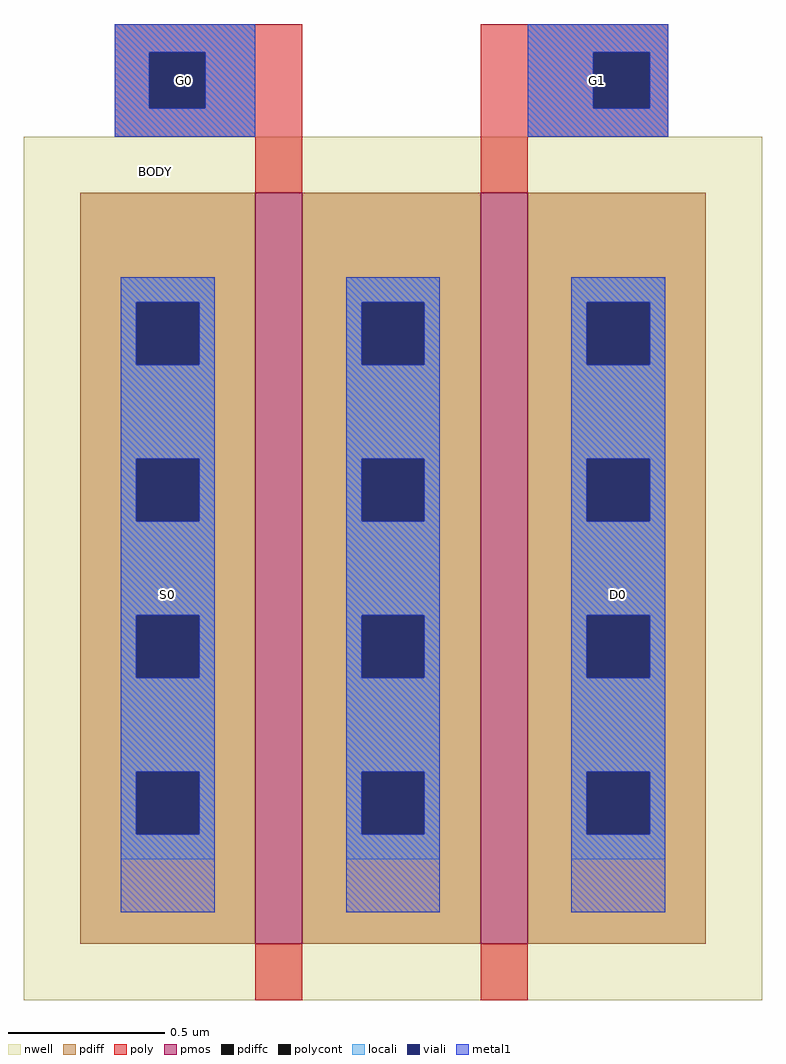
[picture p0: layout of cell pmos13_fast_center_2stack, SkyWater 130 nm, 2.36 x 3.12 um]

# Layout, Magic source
magic
tech sky130A
<< nwell >>
rect -46 66 190 342
<< pmos >>
rect 28 84 43 324
rect 100 84 115 324
<< pdiff >>
rect -28 289 28 324
rect -28 269 -10 289
rect 10 269 28 289
rect -28 239 28 269
rect -28 219 -10 239
rect 10 219 28 239
rect -28 189 28 219
rect -28 169 -10 189
rect 10 169 28 189
rect -28 139 28 169
rect -28 119 -10 139
rect 10 119 28 139
rect -28 84 28 119
rect 43 289 100 324
rect 43 269 62 289
rect 82 269 100 289
rect 43 239 100 269
rect 43 219 62 239
rect 82 219 100 239
rect 43 189 100 219
rect 43 169 62 189
rect 82 169 100 189
rect 43 139 100 169
rect 43 119 62 139
rect 82 119 100 139
rect 43 84 100 119
rect 115 289 172 324
rect 115 269 134 289
rect 154 269 172 289
rect 115 239 172 269
rect 115 219 134 239
rect 154 219 172 239
rect 115 189 172 219
rect 115 169 134 189
rect 154 169 172 189
rect 115 139 172 169
rect 115 119 134 139
rect 154 119 172 139
rect 115 84 172 119
<< pdiffc >>
rect -10 269 10 289
rect -10 219 10 239
rect -10 169 10 189
rect -10 119 10 139
rect 62 269 82 289
rect 62 219 82 239
rect 62 169 82 189
rect 62 119 82 139
rect 134 269 154 289
rect 134 219 154 239
rect 134 169 154 189
rect 134 119 154 139
<< poly >>
rect -17 369 43 378
rect -17 351 -6 369
rect 12 351 43 369
rect -17 342 43 351
rect 28 324 43 342
rect 100 369 160 378
rect 100 351 136 369
rect 154 351 160 369
rect 100 342 160 351
rect 100 324 115 342
rect 28 66 43 84
rect 100 66 115 84
<< polycont >>
rect -6 351 12 369
rect 136 351 154 369
<< locali >>
rect -17 369 28 378
rect -17 351 -6 369
rect 12 351 28 369
rect -17 342 28 351
rect 115 369 160 378
rect 115 351 136 369
rect 154 351 160 369
rect 115 342 160 351
rect -15 289 15 297
rect -15 269 -10 289
rect 10 269 15 289
rect -15 239 15 269
rect -15 219 -10 239
rect 10 219 15 239
rect -15 189 15 219
rect -15 169 -10 189
rect 10 169 15 189
rect -15 139 15 169
rect -15 119 -10 139
rect 10 119 15 139
rect -15 111 15 119
rect 57 289 87 297
rect 57 269 62 289
rect 82 269 87 289
rect 57 239 87 269
rect 57 219 62 239
rect 82 219 87 239
rect 57 189 87 219
rect 57 169 62 189
rect 82 169 87 189
rect 57 139 87 169
rect 57 119 62 139
rect 82 119 87 139
rect 57 111 87 119
rect 129 289 159 297
rect 129 269 134 289
rect 154 269 159 289
rect 129 239 159 269
rect 129 219 134 239
rect 154 219 159 239
rect 129 189 159 219
rect 129 169 134 189
rect 154 169 159 189
rect 129 139 159 169
rect 129 119 134 139
rect 154 119 159 139
rect 129 111 159 119
<< viali >>
rect -6 351 12 369
rect 136 351 154 369
rect -10 269 10 289
rect -10 219 10 239
rect -10 169 10 189
rect -10 119 10 139
rect 62 269 82 289
rect 62 219 82 239
rect 62 169 82 189
rect 62 119 82 139
rect 134 269 154 289
rect 134 219 154 239
rect 134 169 154 189
rect 134 119 154 139
<< metal1 >>
rect -17 369 28 378
rect -17 351 -6 369
rect 12 351 28 369
rect -17 342 28 351
rect 115 369 160 378
rect 115 351 136 369
rect 154 351 160 369
rect 115 342 160 351
rect -15 289 15 297
rect -15 269 -10 289
rect 10 269 15 289
rect -15 239 15 269
rect -15 219 -10 239
rect 10 219 15 239
rect -15 189 15 219
rect -15 169 -10 189
rect 10 169 15 189
rect -15 139 15 169
rect -15 119 -10 139
rect 10 119 15 139
rect -15 94 15 119
rect 57 289 87 297
rect 57 269 62 289
rect 82 269 87 289
rect 57 239 87 269
rect 57 219 62 239
rect 82 219 87 239
rect 57 189 87 219
rect 57 169 62 189
rect 82 169 87 189
rect 57 139 87 169
rect 57 119 62 139
rect 82 119 87 139
rect 57 94 87 119
rect 129 289 159 297
rect 129 269 134 289
rect 154 269 159 289
rect 129 239 159 269
rect 129 219 134 239
rect 154 219 159 239
rect 129 189 159 219
rect 129 169 134 189
rect 154 169 159 189
rect 129 139 159 169
rect 129 119 134 139
rect 154 119 159 139
rect 129 94 159 119
<< labels >>
flabel metal1 -17 342 28 378 0 FreeSans 80 0 0 0 G0
port 2 nsew
flabel metal1 115 342 160 378 0 FreeSans 80 0 0 0 G1
port 3 nsew
flabel metal1 -15 94 15 297 0 FreeSans 80 0 0 0 S0
port 4 nsew
flabel nwell -10 327 2 335 0 FreeSans 40 0 0 0 BODY
port 6 nsew
flabel metal1 129 94 159 297 0 FreeSans 80 0 0 0 D0
port 1 e
<< end >>
